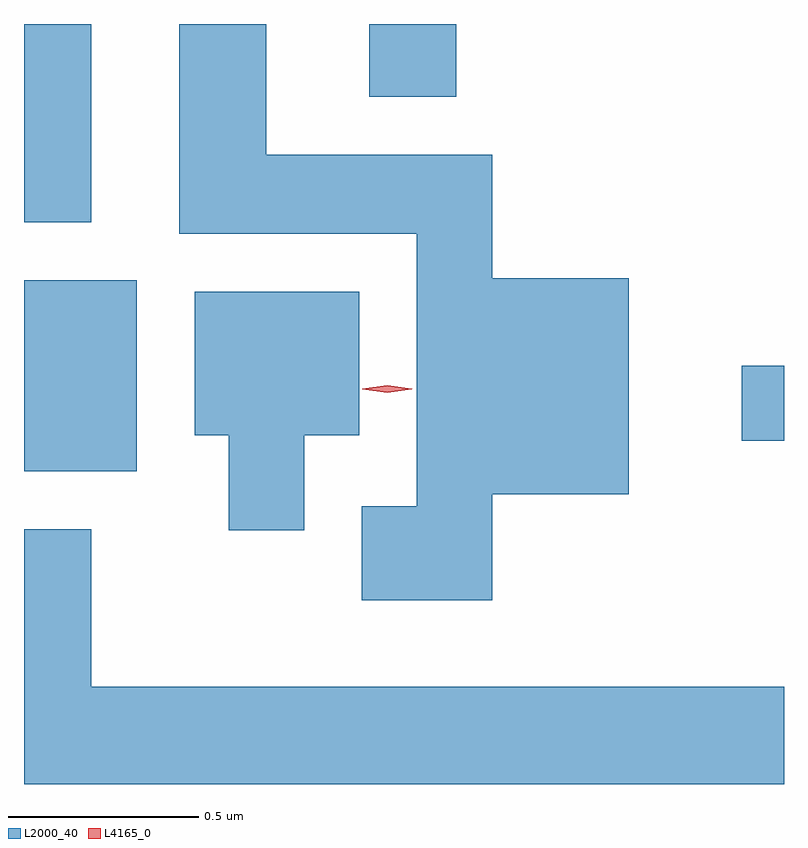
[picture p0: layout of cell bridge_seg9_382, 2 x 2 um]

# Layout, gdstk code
import gdstk
lib = gdstk.Library(unit=1e-6, precision=1e-09)
def R(c, l, rs):  # rectangles x0, y0, x1, y1
    for r in rs: c.add(gdstk.rectangle(r[:2], r[2:], *l))
def P(c, l, *ps):  # polygons
    for p in ps: c.add(gdstk.Polygon(p, *l))
L2000_40 = (2000, 40)
L4165_0 = (4165, 0)

bridge_seg9_382 = lib.new_cell('bridge_seg9_382')
R(bridge_seg9_382, L2000_40, [(1021.602,2010.411,1021.899,2010.914), (1023.491,2010.491,1023.602,2010.689), (1021.602,2011.066,1021.779,2011.588), (1022.511,2011.396,1022.739,2011.588)])
P(bridge_seg9_382, L2000_40, [(1022.834,2010.351),(1023.194,2010.351),(1023.194,2010.919),(1022.834,2010.919),(1022.834,2011.244),(1022.239,2011.244),(1022.239,2011.588),(1022.011,2011.588),(1022.011,2011.036),(1022.636,2011.036),(1022.636,2010.319),(1022.491,2010.319),(1022.491,2010.071),(1022.834,2010.071)],
  [(1022.339,2010.506),(1022.484,2010.506),(1022.484,2010.884),(1022.051,2010.884),(1022.051,2010.506),(1022.141,2010.506),(1022.141,2010.256),(1022.339,2010.256)],
  [(1023.602,2009.844),(1021.779,2009.844),(1021.779,2010.259),(1021.602,2010.259),(1021.602,2009.588),(1023.602,2009.588)])
P(bridge_seg9_382, L4165_0, [(1022.558,2010.618),(1022.492,2010.627),(1022.492,2010.628),(1022.492,2010.628),(1022.558,2010.638),(1022.623,2010.628),(1022.624,2010.628),(1022.623,2010.627)])

lib.write_gds('bridge_seg9_382.gds')
